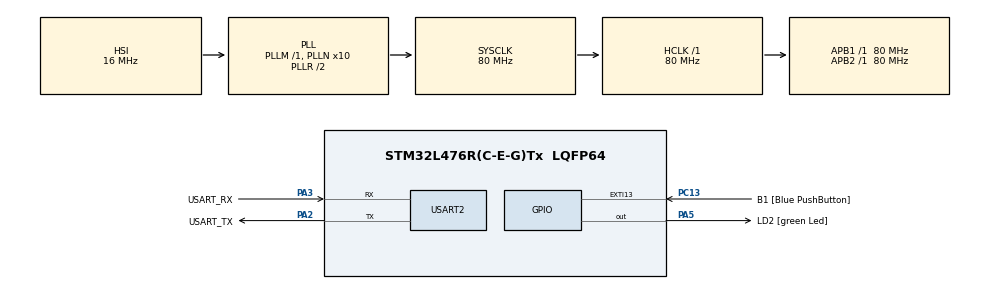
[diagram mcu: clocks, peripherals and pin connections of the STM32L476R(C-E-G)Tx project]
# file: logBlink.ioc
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FREERTOS.Queues01=myQueue01,16,uint16_t,0,Static,myQueue01Buffer,myQueue01ControlBlock
FREERTOS.Tasks01=blink01,24,128,StartBlink01,Default,NULL,Dynamic,NULL,NULL
Mcu.Family=STM32L4
Mcu.Name=STM32L476R(C-E-G)Tx
Mcu.Package=LQFP64
NVIC.PriorityGroup=NVIC_PRIORITYGROUP_4
NVIC.RCC_IRQn=true\:5\:0\:false\:false\:true\:true\:true\:false
NVIC.TIM6_DAC_IRQn=true\:15\:0\:false\:false\:true\:false\:false\:true
NVIC.TimeBase=TIM6_DAC_IRQn
NVIC.TimeBaseIP=TIM6
PA13\ (JTMS-SWDIO).GPIO_Label=TMS
PA13\ (JTMS-SWDIO).Mode=Serial_Wire
PA13\ (JTMS-SWDIO).Signal=SYS_JTMS-SWDIO
PA14\ (JTCK-SWCLK).GPIO_Label=TCK
PA14\ (JTCK-SWCLK).Mode=Serial_Wire
PA14\ (JTCK-SWCLK).Signal=SYS_JTCK-SWCLK
PA2.GPIO_Label=USART_TX
PA2.GPIO_Mode=GPIO_MODE_AF_PP
PA2.GPIO_PuPd=GPIO_NOPULL
PA2.GPIO_Speed=GPIO_SPEED_FREQ_VERY_HIGH
PA2.Mode=Asynchronous
PA2.Signal=USART2_TX
PA3.GPIO_Label=USART_RX
PA3.GPIO_Mode=GPIO_MODE_AF_PP
PA3.GPIO_PuPd=GPIO_NOPULL
PA3.GPIO_Speed=GPIO_SPEED_FREQ_VERY_HIGH
PA3.Mode=Asynchronous
PA3.Signal=USART2_RX
PA5.GPIO_Label=LD2 [green Led]
PA5.GPIO_ModeDefaultOutputPP=GPIO_MODE_OUTPUT_PP
PA5.GPIO_PuPd=GPIO_NOPULL
PA5.GPIO_Speed=GPIO_SPEED_FREQ_LOW
PA5.Signal=GPIO_Output
PB3\ (JTDO-TRACESWO).GPIO_Label=SWO
PB3\ (JTDO-TRACESWO).Signal=SYS_JTDO-SWO
PC13.GPIO_Label=B1 [Blue PushButton]
PC13.GPIO_ModeDefaultEXTI=GPIO_MODE_IT_FALLING
PC13.GPIO_PuPd=GPIO_NOPULL
PC13.Signal=GPXTI13
PC14-OSC32_IN\ (PC14).Mode=LSE-External-Oscillator
PC14-OSC32_IN\ (PC14).Signal=RCC_OSC32_IN
PC15-OSC32_OUT\ (PC15).Mode=LSE-External-Oscillator
PC15-OSC32_OUT\ (PC15).Signal=RCC_OSC32_OUT
PH0-OSC_IN\ (PH0).Signal=RCC_OSC_IN
PH1-OSC_OUT\ (PH1).Signal=RCC_OSC_OUT
ProjectManager.HeapSize=0x200
ProjectManager.StackSize=0x400
ProjectManager.TargetToolchain=STM32CubeIDE
RCC.ADCFreq_Value=64000000
RCC.AHBFreq_Value=80000000
RCC.APB1Freq_Value=80000000
RCC.APB1TimFreq_Value=80000000
RCC.APB2Freq_Value=80000000
RCC.APB2TimFreq_Value=80000000
RCC.CortexFreq_Value=80000000
RCC.HCLKFreq_Value=80000000
RCC.HSE_VALUE=8000000
RCC.HSI_VALUE=16000000
RCC.MSI_VALUE=4000000
RCC.PLLN=10
RCC.PLLSourceVirtual=RCC_PLLSOURCE_HSI
RCC.PREFETCH_ENABLE=1
RCC.SYSCLKFreq_VALUE=80000000
RCC.SYSCLKSource=RCC_SYSCLKSOURCE_PLLCLK
RCC.USBFreq_Value=64000000
RCC.VCOOutputFreq_Value=160000000
USART2.VirtualMode-Asynchronous=VM_ASYNC
VP_FREERTOS_VS_CMSIS_V2.Mode=CMSIS_V2
VP_SYS_VS_tim6.Mode=TIM6
board=NUCLEO-L476RG

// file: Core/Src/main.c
/* USER CODE BEGIN Header */
/**
  ******************************************************************************
  * @file           : main.c
  * @brief          : Main program body
  ******************************************************************************
  * @attention
  *
  * Copyright (c) 2022 STMicroelectronics.
  * All rights reserved.
  *
  * This software is licensed under terms that can be found in the LICENSE file
  * in the root directory of this software component.
  * If no LICENSE file comes with this software, it is provided AS-IS.
  *
  ******************************************************************************
  */
/* USER CODE END Header */
#include "main.h"
#include "cmsis_os.h"

/* USER CODE BEGIN Includes */
#include <stdio.h>
#include <logging/logging_stack.h>
#include "retarget.h"
/* USER CODE END Includes */

typedef StaticQueue_t osStaticMessageQDef_t;

UART_HandleTypeDef huart2;

/* Definitions for blink01 */
osThreadId_t blink01Handle;
const osThreadAttr_t blink01_attributes = {
  .name = "blink01",
  .stack_size = 128 * 4,
  .priority = (osPriority_t) osPriorityNormal,
};
/* Definitions for myQueue01 */
osMessageQueueId_t myQueue01Handle;
uint8_t myQueue01Buffer[ 16 * sizeof( uint16_t ) ];
osStaticMessageQDef_t myQueue01ControlBlock;
const osMessageQueueAttr_t myQueue01_attributes = {
  .name = "myQueue01",
  .cb_mem = &myQueue01ControlBlock,
  .cb_size = sizeof(myQueue01ControlBlock),
  .mq_mem = &myQueue01Buffer,
  .mq_size = sizeof(myQueue01Buffer)
};

void SystemClock_Config(void);
static void MX_GPIO_Init(void);
static void MX_USART2_UART_Init(void);
void StartBlink01(void *argument);

/* USER CODE BEGIN PFP */
/* Private function prototypes ----------------------------------------------*/
#ifdef __GNUC__

	#define PUTCHAR_PROTOTYPE int __io_putchar(int ch)
#else
	#define PUTCHAR_PROTOTYPE int fputc(int ch, FILE *f)

#endif /* __GNUC__ */

/* USER CODE END PFP */

/* USER CODE BEGIN 0 */
PUTCHAR_PROTOTYPE
{
	HAL_UART_Transmit(&huart2, (uint8_t *)&ch, 1, 0xFFFF);

	return ch;
}

/* USER CODE END 0 */

int main(void)
{

  /* MCU Configuration--------------------------------------------------------*/

  /* Reset of all peripherals, Initializes the Flash interface and the Systick. */
  HAL_Init();

  /* Configure the system clock */
  SystemClock_Config();

  /* USER CODE BEGIN SysInit */
  //ITM_Port32(31) = 1;
  /* USER CODE END SysInit */

  /* Initialize all configured peripherals */
  MX_GPIO_Init();
  MX_USART2_UART_Init();
  /* USER CODE BEGIN 2 */
  //RetargetInit(&huart2);
  /* USER CODE END 2 */

  /* Init scheduler */
  osKernelInitialize();

  /* Create the queue(s) */
  /* creation of myQueue01 */
  myQueue01Handle = osMessageQueueNew (16, sizeof(uint16_t), &myQueue01_attributes);

  /* Create the thread(s) */
  /* creation of blink01 */
  blink01Handle = osThreadNew(StartBlink01, NULL, &blink01_attributes);

  /* USER CODE BEGIN RTOS_THREADS */
  //vLoggingInit(pdTRUE, pdFALSE, pdFALSE, pdFALSE, pdFALSE);
  /* add threads, ... */
  /* USER CODE END RTOS_THREADS */

  /* Start scheduler */
  osKernelStart();

  /* We should never get here as control is now taken by the scheduler */
  /* Infinite loop */
  while (1)
  {

  }
}

void SystemClock_Config(void)
{
  RCC_OscInitTypeDef RCC_OscInitStruct = {0};
  RCC_ClkInitTypeDef RCC_ClkInitStruct = {0};

  /** Configure the main internal regulator output voltage
  */
  if (HAL_PWREx_ControlVoltageScaling(PWR_REGULATOR_VOLTAGE_SCALE1) != HAL_OK)
  {
    Error_Handler();
  }
  /** Initializes the RCC Oscillators according to the specified parameters
  * in the RCC_OscInitTypeDef structure.
  */
  RCC_OscInitStruct.OscillatorType = RCC_OSCILLATORTYPE_HSI;
  RCC_OscInitStruct.HSIState = RCC_HSI_ON;
  RCC_OscInitStruct.HSICalibrationValue = RCC_HSICALIBRATION_DEFAULT;
  RCC_OscInitStruct.PLL.PLLState = RCC_PLL_ON;
  RCC_OscInitStruct.PLL.PLLSource = RCC_PLLSOURCE_HSI;
  RCC_OscInitStruct.PLL.PLLM = 1;
  RCC_OscInitStruct.PLL.PLLN = 10;
  RCC_OscInitStruct.PLL.PLLP = RCC_PLLP_DIV7;
  RCC_OscInitStruct.PLL.PLLQ = RCC_PLLQ_DIV2;
  RCC_OscInitStruct.PLL.PLLR = RCC_PLLR_DIV2;
  if (HAL_RCC_OscConfig(&RCC_OscInitStruct) != HAL_OK)
  {
    Error_Handler();
  }
  /** Initializes the CPU, AHB and APB buses clocks
  */
  RCC_ClkInitStruct.ClockType = RCC_CLOCKTYPE_HCLK|RCC_CLOCKTYPE_SYSCLK
                              |RCC_CLOCKTYPE_PCLK1|RCC_CLOCKTYPE_PCLK2;
  RCC_ClkInitStruct.SYSCLKSource = RCC_SYSCLKSOURCE_PLLCLK;
  RCC_ClkInitStruct.AHBCLKDivider = RCC_SYSCLK_DIV1;
  RCC_ClkInitStruct.APB1CLKDivider = RCC_HCLK_DIV1;
  RCC_ClkInitStruct.APB2CLKDivider = RCC_HCLK_DIV1;

  if (HAL_RCC_ClockConfig(&RCC_ClkInitStruct, FLASH_LATENCY_4) != HAL_OK)
  {
    Error_Handler();
  }
}

static void MX_USART2_UART_Init(void)
{

  huart2.Instance = USART2;
  huart2.Init.BaudRate = 115200;
  huart2.Init.WordLength = UART_WORDLENGTH_8B;
  huart2.Init.StopBits = UART_STOPBITS_1;
  huart2.Init.Parity = UART_PARITY_NONE;
  huart2.Init.Mode = UART_MODE_TX_RX;
  huart2.Init.HwFlowCtl = UART_HWCONTROL_NONE;
  huart2.Init.OverSampling = UART_OVERSAMPLING_16;
  huart2.Init.OneBitSampling = UART_ONE_BIT_SAMPLE_DISABLE;
  huart2.AdvancedInit.AdvFeatureInit = UART_ADVFEATURE_NO_INIT;
  if (HAL_UART_Init(&huart2) != HAL_OK)
  {
    Error_Handler();
  }

}

static void MX_GPIO_Init(void)
{
  GPIO_InitTypeDef GPIO_InitStruct = {0};

  /* GPIO Ports Clock Enable */
  __HAL_RCC_GPIOC_CLK_ENABLE();
  __HAL_RCC_GPIOH_CLK_ENABLE();
  __HAL_RCC_GPIOA_CLK_ENABLE();
  __HAL_RCC_GPIOB_CLK_ENABLE();

  /*Configure GPIO pin Output Level */
  HAL_GPIO_WritePin(LD2_GPIO_Port, LD2_Pin, GPIO_PIN_RESET);

  /*Configure GPIO pin : B1_Pin */
  GPIO_InitStruct.Pin = B1_Pin;
  GPIO_InitStruct.Mode = GPIO_MODE_IT_FALLING;
  GPIO_InitStruct.Pull = GPIO_NOPULL;
  HAL_GPIO_Init(B1_GPIO_Port, &GPIO_InitStruct);

  /*Configure GPIO pin : LD2_Pin */
  GPIO_InitStruct.Pin = LD2_Pin;
  GPIO_InitStruct.Mode = GPIO_MODE_OUTPUT_PP;
  GPIO_InitStruct.Pull = GPIO_NOPULL;
  GPIO_InitStruct.Speed = GPIO_SPEED_FREQ_LOW;
  HAL_GPIO_Init(LD2_GPIO_Port, &GPIO_InitStruct);

}

void StartBlink01(void *argument)
{
  /* USER CODE BEGIN 5 */
  /* Infinite loop */
  for(;;)
  {
	  HAL_GPIO_TogglePin(GPIOA, GPIO_PIN_5);
	  char msg[] = "The LED blinks.\r\n";
	  printf(msg);
	  if (osMessageQueuePut(myQueue01Handle, msg, 40, 0) == osOK){
		  printf("Successfully send the message to queue.\r\n");
		  char receive_msg;
		  if (osMessageQueueGet(myQueue01Handle, &receive_msg, NULL, 0U) == osOK ){
			  printf("Received msg: %s\r\n", &receive_msg);
			  osMessageQueueReset(myQueue01Handle);
		  }
	  }
	  osDelay(500);
  }

  // in case we accidentally exit the loop
  osThreadTerminate(NULL);
  /* USER CODE END 5 */
}

void HAL_TIM_PeriodElapsedCallback(TIM_HandleTypeDef *htim)
{
  if (htim->Instance == TIM6) {
    HAL_IncTick();
  }
}

void Error_Handler(void)
{
  __disable_irq();
  while (1)
  {
  }
}
